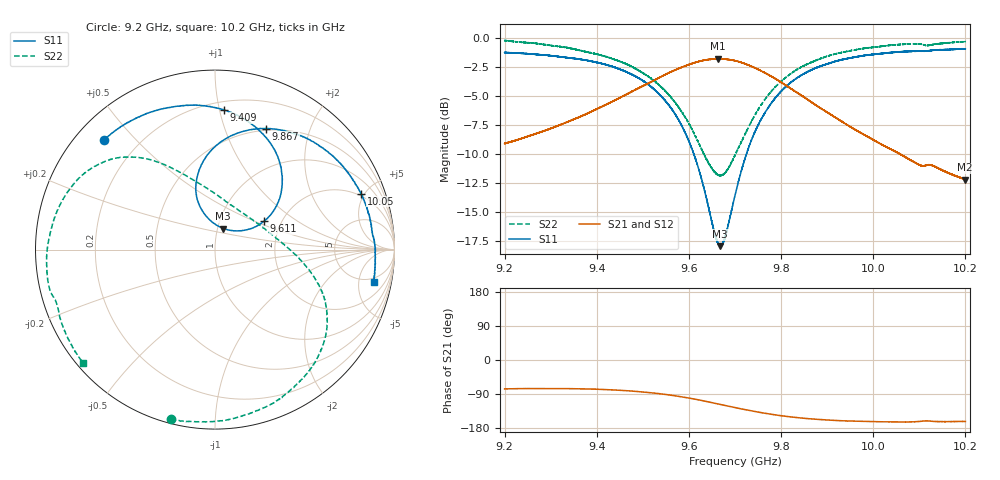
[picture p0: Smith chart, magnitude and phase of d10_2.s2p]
!Agilent Technologies,N5242A,MY51221714,A.09.90.19
!Agilent N5242A: A.09.90.19
!Date: Tuesday, March 26, 2024 16:28:17
!Correction: S11(Full 2 Port(1,2))
!S21(Full 2 Port(1,2))
!S12(Full 2 Port(1,2))
!S22(Full 2 Port(1,2))
!S2P File: Measurements: S11, S21, S12, S22:
# Hz S  dB  R 50
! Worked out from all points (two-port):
!   16001 points, 9.2 GHz to 10.2 GHz, reference 50 ohm
!   highest |S21| = -1.76 dB at 9.663 GHz (marker M1); lowest = -12.2 dB at 10.2 GHz (marker M2)
!   |S21| within 3 dB of the highest: 9.469 GHz to 9.837 GHz (368.4 MHz wide, 3.82 % of centre); 9.837276 GHz to 9.837584 GHz (307.7 kHz wide, 0.00313 % of centre)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
!   lowest |S11| = -18.0 dB at 9.668 GHz (marker M3), VSWR 1.29, Z = 53.3 + j12.7 ohm
!   |S11| at or under -10 dB: 9.611 GHz to 9.725 GHz (114.1 MHz wide, 1.18 % of centre); 9.724856 GHz to 9.724906 GHz (50.09 kHz wide, 0.000515 % of centre)
!   |S22| runs from -11.9 to -0.2 dB; largest |S21 - S12| = 0.01
!   S11 on the Smith chart (normalised r, x): 9.2 GHz: 0.08, +0.41; 9.409 GHz: 0.26, +1.03; 9.611 GHz: 1.62, +0.57; 9.867 GHz: 0.48, +1.40; 10.05 GHz: 1.82, +4.74; 10.2 GHz: 4.09, -7.85
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9.2e9  -1.23 135.3  -9.10 -76.2  -9.08 -77.0  -0.20 -104.6
9.278562e9  -1.42 118.0  -8.10 -75.4  -8.09 -75.9  -0.48 -83.3
9.366688e9  -1.82 97.2  -6.73 -76.2  -6.72 -76.8  -1.09 -60.5
9.409e9  -2.16 86.4  -5.93 -77.5  -5.93 -78.3  -1.45 -49.9
9.47025e9  -3.01 69.4  -4.73 -81.5  -4.72 -82.1  -2.35 -35.4
9.533375e9  -4.75 50.4  -3.44 -88.5  -3.44 -89.1  -3.95 -20.9
9.572875e9  -6.76 38.6  -2.69 -95.0  -2.67 -95.6  -5.69 -10.6
9.611062e9  -10.05 30.1  -2.12 -102.9  -2.11 -103.5  -8.22 3.7
9.663375e9  -17.72 59.7  -1.76 -115.9  -1.76 -116.5  -11.79 49.5
9.667938e9  -17.98 68.5  -1.77 -117.1  -1.77 -117.6  -11.85 55.4
9.7e9  -13.61 106.7  -1.93 -125.5  -1.92 -126.1  -10.11 90.0
9.73275e9  -9.10 107.7  -2.36 -133.7  -2.36 -134.3  -7.41 109.7
9.769188e9  -6.17 97.9  -3.07 -141.4  -3.06 -142.0  -5.05 121.4
9.817562e9  -3.93 82.4  -4.25 -149.7  -4.25 -150.2  -3.16 132.1
9.866688e9  -2.71 67.2  -5.53 -155.6  -5.54 -156.1  -2.05 141.8
9.86725e9  -2.71 67.0  -5.56 -155.6  -5.55 -156.1  -2.04 142.0
9.936312e9  -1.79 47.6  -7.30 -160.5  -7.31 -161.1  -1.18 156.5
1.003338e10  -1.25 23.8  -9.50 -163.2  -9.49 -163.8  -0.61 178.6
1.004531e10  -1.19 20.9  -9.71 -163.4  -9.74 -163.8  -0.56 -178.6
1.009875e10  -1.09 9.1  -10.91 -162.3  -10.91 -162.8  -0.48 -166.1
1.019938e10  -0.91 -11.3  -12.22 -162.0  -12.20 -162.6  -0.28 -139.5
1.02e10  -0.90 -11.5  -12.21 -162.1  -12.21 -162.6  -0.28 -139.3
